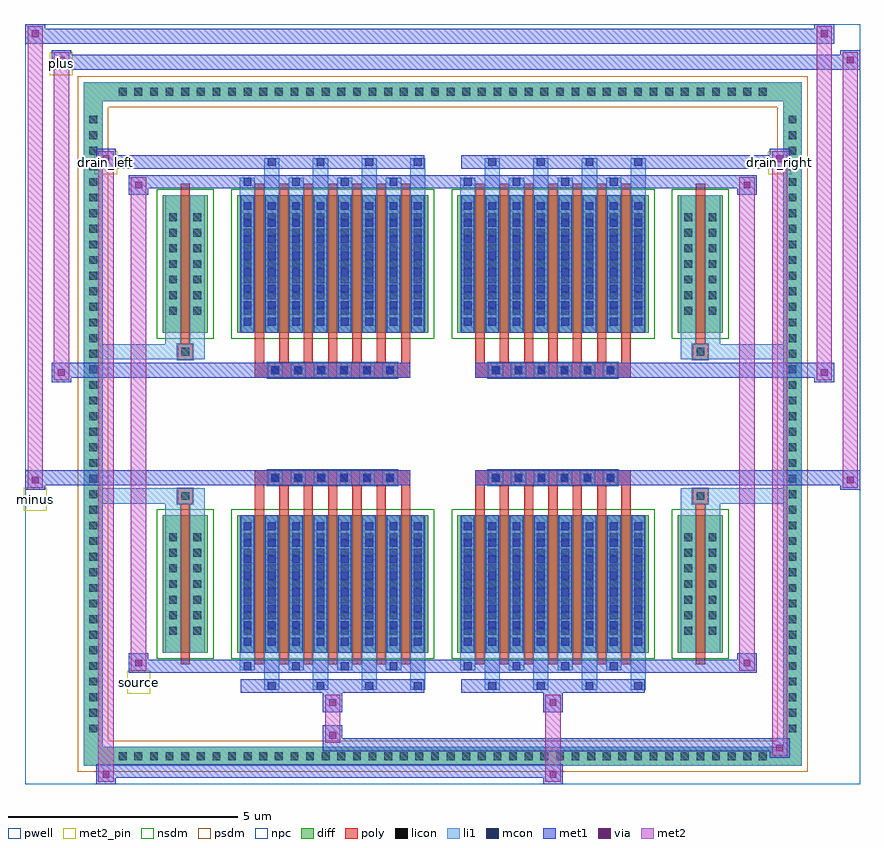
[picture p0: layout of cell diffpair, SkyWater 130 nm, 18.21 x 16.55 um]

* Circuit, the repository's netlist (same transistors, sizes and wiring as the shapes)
* NGSPICE file created from diffpair.ext - technology: sky130A

.subckt diffpair minus drain_right drain_left source plus
X0 drain_left plus source a_n1564_n1488# sky130_fd_pr__nfet_01v8 ad=0.495 pd=3.33 as=0.495 ps=3.33 w=3 l=0.2
X1 a_n1564_n1488# a_n1564_n1488# a_n1564_n1488# a_n1564_n1488# sky130_fd_pr__nfet_01v8 ad=1.17 pd=6.78 as=9.36 ps=54.24 w=3 l=0.2
X2 a_n1564_n1488# a_n1564_n1488# a_n1564_n1488# a_n1564_n1488# sky130_fd_pr__nfet_01v8 ad=1.17 pd=6.78 as=0 ps=0 w=3 l=0.2
X3 drain_right minus source a_n1564_n1488# sky130_fd_pr__nfet_01v8 ad=0.495 pd=3.33 as=0.495 ps=3.33 w=3 l=0.2
X4 drain_right minus source a_n1564_n1488# sky130_fd_pr__nfet_01v8 ad=1.17 pd=6.78 as=0.495 ps=3.33 w=3 l=0.2
X5 drain_right minus source a_n1564_n1488# sky130_fd_pr__nfet_01v8 ad=0.495 pd=3.33 as=1.17 ps=6.78 w=3 l=0.2
X6 source minus drain_right a_n1564_n1488# sky130_fd_pr__nfet_01v8 ad=0.495 pd=3.33 as=0.495 ps=3.33 w=3 l=0.2
X7 source plus drain_left a_n1564_n1488# sky130_fd_pr__nfet_01v8 ad=0.495 pd=3.33 as=0.495 ps=3.33 w=3 l=0.2
X8 drain_left plus source a_n1564_n1488# sky130_fd_pr__nfet_01v8 ad=0.495 pd=3.33 as=1.17 ps=6.78 w=3 l=0.2
X9 source plus drain_left a_n1564_n1488# sky130_fd_pr__nfet_01v8 ad=0.495 pd=3.33 as=0.495 ps=3.33 w=3 l=0.2
X10 drain_right minus source a_n1564_n1488# sky130_fd_pr__nfet_01v8 ad=1.17 pd=6.78 as=0.495 ps=3.33 w=3 l=0.2
X11 drain_left plus source a_n1564_n1488# sky130_fd_pr__nfet_01v8 ad=0.495 pd=3.33 as=1.17 ps=6.78 w=3 l=0.2
X12 source minus drain_right a_n1564_n1488# sky130_fd_pr__nfet_01v8 ad=0.495 pd=3.33 as=0.495 ps=3.33 w=3 l=0.2
X13 source minus drain_right a_n1564_n1488# sky130_fd_pr__nfet_01v8 ad=0.495 pd=3.33 as=0.495 ps=3.33 w=3 l=0.2
X14 drain_right minus source a_n1564_n1488# sky130_fd_pr__nfet_01v8 ad=0.495 pd=3.33 as=0.495 ps=3.33 w=3 l=0.2
X15 drain_left plus source a_n1564_n1488# sky130_fd_pr__nfet_01v8 ad=1.17 pd=6.78 as=0.495 ps=3.33 w=3 l=0.2
X16 a_n1564_n1488# a_n1564_n1488# a_n1564_n1488# a_n1564_n1488# sky130_fd_pr__nfet_01v8 ad=1.17 pd=6.78 as=0 ps=0 w=3 l=0.2
X17 source plus drain_left a_n1564_n1488# sky130_fd_pr__nfet_01v8 ad=0.495 pd=3.33 as=0.495 ps=3.33 w=3 l=0.2
X18 drain_left plus source a_n1564_n1488# sky130_fd_pr__nfet_01v8 ad=1.17 pd=6.78 as=0.495 ps=3.33 w=3 l=0.2
X19 source minus drain_right a_n1564_n1488# sky130_fd_pr__nfet_01v8 ad=0.495 pd=3.33 as=0.495 ps=3.33 w=3 l=0.2
X20 source plus drain_left a_n1564_n1488# sky130_fd_pr__nfet_01v8 ad=0.495 pd=3.33 as=0.495 ps=3.33 w=3 l=0.2
X21 source plus drain_left a_n1564_n1488# sky130_fd_pr__nfet_01v8 ad=0.495 pd=3.33 as=0.495 ps=3.33 w=3 l=0.2
X22 drain_right minus source a_n1564_n1488# sky130_fd_pr__nfet_01v8 ad=0.495 pd=3.33 as=1.17 ps=6.78 w=3 l=0.2
X23 drain_right minus source a_n1564_n1488# sky130_fd_pr__nfet_01v8 ad=0.495 pd=3.33 as=0.495 ps=3.33 w=3 l=0.2
X24 drain_left plus source a_n1564_n1488# sky130_fd_pr__nfet_01v8 ad=0.495 pd=3.33 as=0.495 ps=3.33 w=3 l=0.2
X25 a_n1564_n1488# a_n1564_n1488# a_n1564_n1488# a_n1564_n1488# sky130_fd_pr__nfet_01v8 ad=1.17 pd=6.78 as=0 ps=0 w=3 l=0.2
X26 drain_left plus source a_n1564_n1488# sky130_fd_pr__nfet_01v8 ad=0.495 pd=3.33 as=0.495 ps=3.33 w=3 l=0.2
X27 source plus drain_left a_n1564_n1488# sky130_fd_pr__nfet_01v8 ad=0.495 pd=3.33 as=0.495 ps=3.33 w=3 l=0.2
X28 source minus drain_right a_n1564_n1488# sky130_fd_pr__nfet_01v8 ad=0.495 pd=3.33 as=0.495 ps=3.33 w=3 l=0.2
X29 source minus drain_right a_n1564_n1488# sky130_fd_pr__nfet_01v8 ad=0.495 pd=3.33 as=0.495 ps=3.33 w=3 l=0.2
X30 drain_left plus source a_n1564_n1488# sky130_fd_pr__nfet_01v8 ad=0.495 pd=3.33 as=0.495 ps=3.33 w=3 l=0.2
X31 drain_right minus source a_n1564_n1488# sky130_fd_pr__nfet_01v8 ad=0.495 pd=3.33 as=0.495 ps=3.33 w=3 l=0.2
.ends

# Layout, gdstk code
import gdstk
lib = gdstk.Library(unit=1e-6, precision=5e-09)
def R(c, l, rs):  # rectangles x0, y0, x1, y1
    for r in rs: c.add(gdstk.rectangle(r[:2], r[2:], *l))
def A(c, l, x, y, w, h, nx, ny, dx, dy):  # array of equal rectangles
    R(c, l, [(x+i*dx, y+j*dy, x+i*dx+w, y+j*dy+h) for i in range(nx) for j in range(ny)])
def P(c, l, *ps):  # polygons
    for p in ps: c.add(gdstk.Polygon(p, *l))
pwell = (64, 44)
diff = (65, 20)
poly = (66, 20)
licon = (66, 44)
li1 = (67, 20)
mcon = (67, 44)
met1 = (68, 20)
via = (68, 44)
met2_pin = (69, 16)
met2 = (69, 20)
nsdm = (93, 44)
psdm = (94, 20)
npc = (95, 20)

diffpair = lib.new_cell('diffpair')
R(diffpair, pwell, [(-9.09,-7.84,9.09,8.71), (-6.41,-6.03,-0.01,-0.805), (0.01,-6.03,6.41,-0.805), (-6.41,0.805,-0.01,6.03), (0.01,0.805,6.41,6.03)])
A(diffpair, diff, -7.175, -7.44, 0.41, 0.41, 42, 2, 0.34, 14.47)
A(diffpair, diff, -7.82, -6.835, 0.41, 0.41, 1, 40, 0, 0.34)
A(diffpair, diff, 7.41, -6.835, 0.41, 0.41, 1, 40, 0, 0.34)
R(diffpair, diff, [(-7.175,-7.44,7.175,-7.03), (-7.82,-6.835,-7.41,6.835), (7.41,-6.835,7.82,6.835), (-6.1,-4.985,-5.12,-1.985), (-4.48,-4.985,-0.32,-1.985), (0.32,-4.985,4.48,-1.985), (5.12,-4.985,6.1,-1.985), (-6.1,1.985,-5.12,4.985), (-4.48,1.985,-0.32,4.985), (0.32,1.985,4.48,4.985), (5.12,1.985,6.1,4.985), (-7.175,7.03,7.175,7.44)])
P(diffpair, diff, [(7.82,7.44),(-7.82,7.44),(-7.82,-7.03),(-7.41,-7.03),(-7.41,7.03),(7.41,7.03),(7.41,-7.03),(-7.41,-7.03),(-7.82,-7.03),(-7.82,-7.44),(7.82,-7.44)])
A(diffpair, poly, -4.09, -5.235, 0.2, 3.5, 7, 2, 0.53, 6.97)
A(diffpair, poly, 0.71, -5.235, 0.2, 3.5, 7, 2, 0.53, 6.97)
A(diffpair, poly, -4.09, -1.735, 0.2, 0.4, 7, 2, 0.53, 3.07)
A(diffpair, poly, 0.71, -1.735, 0.2, 0.4, 7, 2, 0.53, 3.07)
A(diffpair, poly, -3.815, -1.335, 0.33, 0.33, 6, 2, 0.5, 2.34)
A(diffpair, poly, 0.985, -1.335, 0.33, 0.33, 6, 2, 0.5, 2.34)
R(diffpair, poly, [(-5.71,-5.235,-5.51,-1.735), (5.51,-5.235,5.71,-1.735), (-5.775,-1.735,-5.445,-1.405), (-5.775,-1.735,-5.445,-1.405), (5.445,-1.735,5.775,-1.405), (5.445,-1.735,5.775,-1.405), (-4.09,-1.335,-0.71,-1.005), (0.71,-1.335,4.09,-1.005), (-4.09,1.005,-0.71,1.335), (0.71,1.005,4.09,1.335), (-5.775,1.405,-5.445,1.735), (-5.775,1.405,-5.445,1.735), (5.445,1.405,5.775,1.735), (5.445,1.405,5.775,1.735), (-5.71,1.735,-5.51,5.235), (5.51,1.735,5.71,5.235)])
A(diffpair, licon, -7.055, -7.32, 0.17, 0.17, 42, 2, 0.34, 14.47)
A(diffpair, licon, -7.7, -6.715, 0.17, 0.17, 1, 40, 0, 0.34)
A(diffpair, licon, 7.53, -6.715, 0.17, 0.17, 1, 40, 0, 0.34)
A(diffpair, licon, -5.96, -4.59, 0.17, 0.17, 1, 7, 0, 0.34)
A(diffpair, licon, -5.43, -4.59, 0.17, 0.17, 1, 7, 0, 0.34)
A(diffpair, licon, -4.34, -4.59, 0.17, 0.17, 8, 7, 0.53, 0.34)
A(diffpair, licon, 0.46, -4.59, 0.17, 0.17, 8, 7, 0.53, 0.34)
A(diffpair, licon, 5.26, -4.59, 0.17, 0.17, 1, 7, 0, 0.34)
A(diffpair, licon, 5.79, -4.59, 0.17, 0.17, 1, 7, 0, 0.34)
A(diffpair, licon, -3.735, -1.255, 0.17, 0.17, 6, 2, 0.5, 2.34)
A(diffpair, licon, 1.065, -1.255, 0.17, 0.17, 6, 2, 0.5, 2.34)
A(diffpair, licon, -5.96, 2.38, 0.17, 0.17, 1, 7, 0, 0.34)
A(diffpair, licon, -5.43, 2.38, 0.17, 0.17, 1, 7, 0, 0.34)
A(diffpair, licon, -4.34, 2.38, 0.17, 0.17, 8, 7, 0.53, 0.34)
A(diffpair, licon, 0.46, 2.38, 0.17, 0.17, 8, 7, 0.53, 0.34)
A(diffpair, licon, 5.26, 2.38, 0.17, 0.17, 1, 7, 0, 0.34)
A(diffpair, licon, 5.79, 2.38, 0.17, 0.17, 1, 7, 0, 0.34)
R(diffpair, licon, [(-5.695,-1.655,-5.525,-1.485), (5.525,-1.655,5.695,-1.485), (-5.695,1.485,-5.525,1.655), (5.525,1.485,5.695,1.655)])
A(diffpair, li1, -7.135, -7.4, 0.33, 0.33, 42, 2, 0.34, 14.47)
A(diffpair, li1, -7.78, -6.795, 0.33, 0.33, 1, 40, 0, 0.34)
A(diffpair, li1, 7.45, -6.795, 0.33, 0.33, 1, 40, 0, 0.34)
A(diffpair, li1, -3.89, -5.79, 0.33, 0.805, 4, 2, 1.06, 10.775)
A(diffpair, li1, -3.81, -5.79, 0.17, 0.17, 4, 2, 1.06, 11.41)
A(diffpair, li1, 0.91, -5.79, 0.33, 0.805, 4, 2, 1.06, 10.775)
A(diffpair, li1, 0.99, -5.79, 0.17, 0.17, 4, 2, 1.06, 11.41)
A(diffpair, li1, -4.42, -5.36, 0.33, 0.375, 4, 2, 1.06, 10.345)
A(diffpair, li1, -4.34, -5.36, 0.17, 0.17, 4, 2, 1.06, 10.55)
A(diffpair, li1, 0.38, -5.36, 0.33, 0.375, 4, 2, 1.06, 10.345)
A(diffpair, li1, 0.46, -5.36, 0.17, 0.17, 4, 2, 1.06, 10.55)
A(diffpair, li1, -4.42, -4.985, 0.33, 3, 8, 2, 0.53, 6.97)
A(diffpair, li1, 0.38, -4.985, 0.33, 3, 8, 2, 0.53, 6.97)
A(diffpair, li1, -4.34, -4.83, 0.17, 0.17, 8, 8, 0.53, 0.36)
A(diffpair, li1, -4.34, -4.83, 0.17, 2.69, 8, 2, 0.53, 6.97)
A(diffpair, li1, 0.46, -4.83, 0.17, 0.17, 8, 8, 0.53, 0.36)
A(diffpair, li1, 0.46, -4.83, 0.17, 2.69, 8, 2, 0.53, 6.97)
A(diffpair, li1, -6.04, -4.67, 0.33, 0.33, 1, 7, 0, 0.34)
A(diffpair, li1, -5.51, -4.67, 0.33, 0.33, 1, 7, 0, 0.34)
A(diffpair, li1, -4.42, -4.67, 0.33, 0.33, 8, 7, 0.53, 0.34)
A(diffpair, li1, 0.38, -4.67, 0.33, 0.33, 8, 7, 0.53, 0.34)
A(diffpair, li1, 5.18, -4.67, 0.33, 0.33, 1, 7, 0, 0.34)
A(diffpair, li1, 5.71, -4.67, 0.33, 0.33, 1, 7, 0, 0.34)
A(diffpair, li1, -3.815, -1.335, 0.33, 0.33, 6, 2, 0.5, 2.34)
A(diffpair, li1, 0.985, -1.335, 0.33, 0.33, 6, 2, 0.5, 2.34)
A(diffpair, li1, -4.34, 2.14, 0.17, 0.17, 8, 8, 0.53, 0.36)
A(diffpair, li1, 0.46, 2.14, 0.17, 0.17, 8, 8, 0.53, 0.36)
A(diffpair, li1, -6.04, 2.3, 0.33, 0.33, 1, 7, 0, 0.34)
A(diffpair, li1, -5.51, 2.3, 0.33, 0.33, 1, 7, 0, 0.34)
A(diffpair, li1, -4.42, 2.3, 0.33, 0.33, 8, 7, 0.53, 0.34)
A(diffpair, li1, 0.38, 2.3, 0.33, 0.33, 8, 7, 0.53, 0.34)
A(diffpair, li1, 5.18, 2.3, 0.33, 0.33, 1, 7, 0, 0.34)
A(diffpair, li1, 5.71, 2.3, 0.33, 0.33, 1, 7, 0, 0.34)
R(diffpair, li1, [(-7.82,-7.44,-7.41,-7.03), (-7.82,-7.44,-7.41,-7.03), (-7.41,-7.44,7.41,-7.03), (7.41,-7.44,7.82,-7.03), (7.41,-7.44,7.82,-7.03), (-7.82,-7.03,-7.41,7.03), (7.41,-7.03,7.82,7.03), (-6.04,-4.985,-5.71,-1.985), (-5.51,-4.985,-5.18,-1.985), (5.18,-4.985,5.51,-1.985), (5.71,-4.985,6.04,-1.985), (-6.04,-1.985,-5.71,-1.405), (-5.51,-1.985,-5.18,-1.405), (5.18,-1.985,5.51,-1.405), (5.71,-1.985,6.04,-1.405), (-7.82,-1.735,-5.775,-1.405), (-6.04,-1.735,-5.775,-1.405), (-5.775,-1.735,-5.445,-1.405), (-5.445,-1.735,-5.18,-1.405), (5.18,-1.735,5.445,-1.405), (5.445,-1.735,5.775,-1.405), (5.445,-1.735,7.82,-1.405), (5.775,-1.735,6.04,-1.405), (-7.82,1.405,-5.775,1.735), (-6.04,1.405,-5.775,1.735), (-6.04,1.405,-5.71,1.985), (-5.775,1.405,-5.445,1.735), (-5.51,1.405,-5.18,1.985), (-5.445,1.405,-5.18,1.735), (5.18,1.405,5.445,1.735), (5.18,1.405,5.51,1.985), (5.445,1.405,5.775,1.735), (5.445,1.405,7.82,1.735), (5.71,1.405,6.04,1.985), (5.775,1.405,6.04,1.735), (-6.04,1.985,-5.71,4.985), (-5.51,1.985,-5.18,4.985), (5.18,1.985,5.51,4.985), (5.71,1.985,6.04,4.985), (-7.82,7.03,-7.41,7.44), (-7.82,7.03,-7.41,7.44), (-7.41,7.03,7.41,7.44), (7.41,7.03,7.82,7.44), (7.41,7.03,7.82,7.44)])
A(diffpair, mcon, -3.81, -5.79, 0.17, 0.17, 4, 2, 1.06, 11.41)
A(diffpair, mcon, 0.99, -5.79, 0.17, 0.17, 4, 2, 1.06, 11.41)
A(diffpair, mcon, -4.34, -5.36, 0.17, 0.17, 4, 2, 1.06, 10.55)
A(diffpair, mcon, 0.46, -5.36, 0.17, 0.17, 4, 2, 1.06, 10.55)
A(diffpair, mcon, -4.34, -4.83, 0.17, 0.17, 8, 8, 0.53, 0.36)
A(diffpair, mcon, 0.46, -4.83, 0.17, 0.17, 8, 8, 0.53, 0.36)
A(diffpair, mcon, -3.735, -1.255, 0.17, 0.17, 6, 2, 0.5, 2.34)
A(diffpair, mcon, 1.065, -1.255, 0.17, 0.17, 6, 2, 0.5, 2.34)
A(diffpair, mcon, -4.34, 2.14, 0.17, 0.17, 8, 8, 0.53, 0.36)
A(diffpair, mcon, 0.46, 2.14, 0.17, 0.17, 8, 8, 0.53, 0.36)
A(diffpair, met1, -3.87, -5.85, 0.29, 0.29, 4, 2, 1.06, 11.41)
A(diffpair, met1, 0.93, -5.85, 0.29, 0.29, 4, 2, 1.06, 11.41)
A(diffpair, met1, -4.4, -5.42, 0.29, 0.29, 4, 2, 1.06, 10.55)
A(diffpair, met1, 0.4, -5.42, 0.29, 0.29, 4, 2, 1.06, 10.55)
A(diffpair, met1, -4.4, -4.985, 0.29, 3, 8, 2, 0.53, 6.97)
A(diffpair, met1, 0.4, -4.985, 0.29, 3, 8, 2, 0.53, 6.97)
A(diffpair, met1, -4.4, -4.89, 0.29, 0.29, 8, 8, 0.53, 0.36)
A(diffpair, met1, 0.4, -4.89, 0.29, 0.29, 8, 8, 0.53, 0.36)
A(diffpair, met1, -3.795, -1.315, 0.29, 0.29, 6, 2, 0.5, 2.34)
A(diffpair, met1, 1.005, -1.315, 0.29, 0.29, 6, 2, 0.5, 2.34)
A(diffpair, met1, -4.4, 2.08, 0.29, 0.29, 8, 8, 0.53, 0.36)
A(diffpair, met1, 0.4, 2.08, 0.29, 0.29, 8, 8, 0.53, 0.36)
R(diffpair, met1, [(-7.55,-7.84,-7.12,-7.41), (2.185,-7.84,2.615,-7.41), (-7.55,-7.7,2.615,-7.41), (7.12,-7.27,7.55,-6.84), (-2.615,-7.13,7.55,-6.84), (-2.615,-6.99,-2.185,-6.56), (-2.615,-6.28,-2.185,-5.85), (2.185,-6.28,2.615,-5.85), (-4.4,-5.85,-0.4,-5.56), (0.4,-5.85,4.4,-5.56), (-6.84,-5.42,-6.41,-4.99), (-6.84,-5.42,-4.4,-5.13), (-4.4,-5.42,-0.4,-5.13), (-0.4,-5.42,0.4,-5.13), (0.4,-5.42,4.4,-5.13), (4.4,-5.42,6.84,-5.13), (6.41,-5.42,6.84,-4.99), (-9.09,-1.435,-8.66,-1.005), (8.66,-1.435,9.09,-1.005), (-9.09,-1.335,-0.71,-1.005), (-4.09,-1.335,-0.71,-1.005), (0.71,-1.335,4.09,-1.005), (0.71,-1.335,9.09,-1.005), (-8.52,0.905,-8.09,1.335), (8.09,0.905,8.52,1.335), (-8.52,1.005,-4.09,1.335), (-4.09,1.005,-0.71,1.335), (0.71,1.005,4.09,1.335), (4.09,1.005,8.52,1.335), (-6.84,4.99,-6.41,5.42), (6.41,4.99,6.84,5.42), (-6.84,5.13,-4.4,5.42), (-4.4,5.13,-0.4,5.42), (-0.4,5.13,0.4,5.42), (0.4,5.13,4.4,5.42), (4.4,5.13,6.84,5.42), (-7.55,5.56,-7.12,5.99), (-7.55,5.56,-4.4,5.85), (-4.4,5.56,-0.4,5.85), (0.4,5.56,4.4,5.85), (4.4,5.56,7.55,5.85), (7.12,5.56,7.55,5.99), (-8.52,7.71,-8.09,8.14), (-8.52,7.71,-6.41,8.04), (-6.41,7.71,6.41,8.04), (6.41,7.71,9.09,8.04), (8.66,7.71,9.09,8.14), (-9.09,8.28,-8.66,8.71), (-9.09,8.28,-6.41,8.61), (-6.41,8.28,6.41,8.61), (6.41,8.28,8.52,8.61), (8.09,8.28,8.52,8.71)])
R(diffpair, via, [(-7.41,-7.7,-7.26,-7.55), (2.325,-7.7,2.475,-7.55), (7.26,-7.13,7.41,-6.98), (-2.475,-6.85,-2.325,-6.7), (-2.475,-6.14,-2.325,-5.99), (2.325,-6.14,2.475,-5.99), (-6.7,-5.28,-6.55,-5.13), (6.55,-5.28,6.7,-5.13), (-8.95,-1.295,-8.8,-1.145), (8.8,-1.295,8.95,-1.145), (-8.38,1.045,-8.23,1.195), (8.23,1.045,8.38,1.195), (-6.7,5.13,-6.55,5.28), (6.55,5.13,6.7,5.28), (-7.41,5.7,-7.26,5.85), (7.26,5.7,7.41,5.85), (-8.38,7.85,-8.23,8), (8.8,7.85,8.95,8), (-8.95,8.42,-8.8,8.57), (8.23,8.42,8.38,8.57)])
R(diffpair, met2_pin, [(-6.875,-5.87,-6.375,-5.37), (-9.125,-1.885,-8.625,-1.385), (-7.585,5.44,-7.085,5.94), (7.085,5.44,7.585,5.94), (-8.555,7.59,-8.055,8.09)])
R(diffpair, met2, [(-7.5,-7.79,-7.17,-7.46), (-7.5,-7.79,-7.17,5.94), (2.235,-7.79,2.565,-7.46), (2.235,-7.46,2.565,-6.23), (7.17,-7.22,7.5,-6.89), (7.17,-7.22,7.5,5.94), (-2.565,-6.94,-2.235,-6.61), (-2.565,-6.61,-2.235,-6.23), (-2.565,-6.23,-2.235,-5.9), (2.235,-6.23,2.565,-5.9), (-6.79,-5.37,-6.46,-5.04), (-6.79,-5.37,-6.46,5.37), (6.46,-5.37,6.79,-5.04), (6.46,-5.37,6.79,5.37), (-9.04,-1.385,-8.71,-1.055), (-9.04,-1.385,-8.71,8.66), (8.71,-1.385,9.04,-1.055), (8.71,-1.385,9.04,8.09), (-8.47,0.955,-8.14,1.285), (-8.47,0.955,-8.14,8.09), (8.14,0.955,8.47,1.285), (8.14,0.955,8.47,8.66), (-6.79,5.04,-6.46,5.37), (6.46,5.04,6.79,5.37), (-7.5,5.61,-7.17,5.94), (7.17,5.61,7.5,5.94), (-8.47,7.76,-8.14,8.09), (8.71,7.76,9.04,8.09), (-9.04,8.33,-8.71,8.66), (8.14,8.33,8.47,8.66)])
P(diffpair, met2, [(9.04,-1.385),(9.04,-1.385),(9.04,-1.055),(9.04,-1.055)],
  [(9.04,7.76),(9.04,7.76),(9.04,8.09),(9.04,8.09)],
  [(-8.71,-1.385),(-8.71,-1.385),(-8.71,-1.055),(-8.71,-1.055)],
  [(-8.71,8.33),(-8.71,8.33),(-8.71,8.66),(-8.71,8.66)],
  [(8.47,0.955),(8.47,0.955),(8.47,1.285),(8.47,1.285)],
  [(8.47,8.33),(8.47,8.33),(8.47,8.66),(8.47,8.66)],
  [(-8.14,0.955),(-8.14,0.955),(-8.14,1.285),(-8.14,1.285)],
  [(-8.14,7.76),(-8.14,7.76),(-8.14,8.09),(-8.14,8.09)],
  [(-7.17,-7.79),(-7.17,-7.79),(-7.17,-7.46),(-7.17,-7.46)],
  [(-7.17,5.61),(-7.17,5.61),(-7.17,5.94),(-7.17,5.94)],
  [(7.5,-7.22),(7.5,-7.22),(7.5,-6.89),(7.5,-6.89)],
  [(7.5,5.61),(7.5,5.61),(7.5,5.94),(7.5,5.94)],
  [(-6.46,-5.37),(-6.46,-5.37),(-6.46,-5.04),(-6.46,-5.04)],
  [(-6.46,5.04),(-6.46,5.04),(-6.46,5.37),(-6.46,5.37)],
  [(6.79,-5.37),(6.79,-5.37),(6.79,-5.04),(6.79,-5.04)],
  [(6.79,5.04),(6.79,5.04),(6.79,5.37),(6.79,5.37)])
R(diffpair, nsdm, [(-6.23,-5.115,-4.99,-1.855), (-4.61,-5.115,-0.19,-1.855), (0.19,-5.115,4.61,-1.855), (4.99,-5.115,6.23,-1.855), (-6.23,1.855,-4.99,5.115), (-4.61,1.855,-0.19,5.115), (0.19,1.855,4.61,5.115), (4.99,1.855,6.23,5.115)])
P(diffpair, psdm, [(7.95,7.57),(-7.95,7.57),(-7.95,-6.9),(-7.28,-6.9),(-7.28,6.9),(7.28,6.9),(7.28,-6.9),(-7.28,-6.9),(-7.95,-6.9),(-7.95,-7.57),(7.95,-7.57)])
A(diffpair, npc, -3.835, -1.355, 0.37, 0.37, 6, 2, 0.5, 2.34)
A(diffpair, npc, 0.965, -1.355, 0.37, 0.37, 6, 2, 0.5, 2.34)
R(diffpair, npc, [(-5.795,-1.755,-5.425,-1.385), (5.425,-1.755,5.795,-1.385), (-3.835,-1.355,-2.965,-0.985), (-3.835,-1.355,-2.965,-0.985), (-3.335,-1.355,-2.465,-0.985), (-3.335,-1.355,-2.465,-0.985), (-2.835,-1.355,-1.965,-0.985), (-2.835,-1.355,-1.965,-0.985), (-2.335,-1.355,-1.465,-0.985), (-2.335,-1.355,-1.465,-0.985), (-1.835,-1.355,-0.965,-0.985), (-1.835,-1.355,-0.965,-0.985), (0.965,-1.355,1.835,-0.985), (0.965,-1.355,1.835,-0.985), (1.465,-1.355,2.335,-0.985), (1.465,-1.355,2.335,-0.985), (1.965,-1.355,2.835,-0.985), (1.965,-1.355,2.835,-0.985), (2.465,-1.355,3.335,-0.985), (2.465,-1.355,3.335,-0.985), (2.965,-1.355,3.835,-0.985), (2.965,-1.355,3.835,-0.985), (-3.835,0.985,-2.965,1.355), (-3.835,0.985,-2.965,1.355), (-3.335,0.985,-2.465,1.355), (-3.335,0.985,-2.465,1.355), (-2.835,0.985,-1.965,1.355), (-2.835,0.985,-1.965,1.355), (-2.335,0.985,-1.465,1.355), (-2.335,0.985,-1.465,1.355), (-1.835,0.985,-0.965,1.355), (-1.835,0.985,-0.965,1.355), (0.965,0.985,1.835,1.355), (0.965,0.985,1.835,1.355), (1.465,0.985,2.335,1.355), (1.465,0.985,2.335,1.355), (1.965,0.985,2.835,1.355), (1.965,0.985,2.835,1.355), (2.465,0.985,3.335,1.355), (2.465,0.985,3.335,1.355), (2.965,0.985,3.835,1.355), (2.965,0.985,3.835,1.355), (-5.795,1.385,-5.425,1.755), (5.425,1.385,5.795,1.755)])
diffpair.add(gdstk.Label('minus', (-8.875,-1.635), layer=69, texttype=5))
diffpair.add(gdstk.Label('drain_right', (7.335,5.69), layer=69, texttype=5))
diffpair.add(gdstk.Label('drain_left', (-7.335,5.69), layer=69, texttype=5))
diffpair.add(gdstk.Label('source', (-6.625,-5.62), layer=69, texttype=5))
diffpair.add(gdstk.Label('plus', (-8.305,7.84), layer=69, texttype=5))

lib.write_gds('diffpair.gds')
